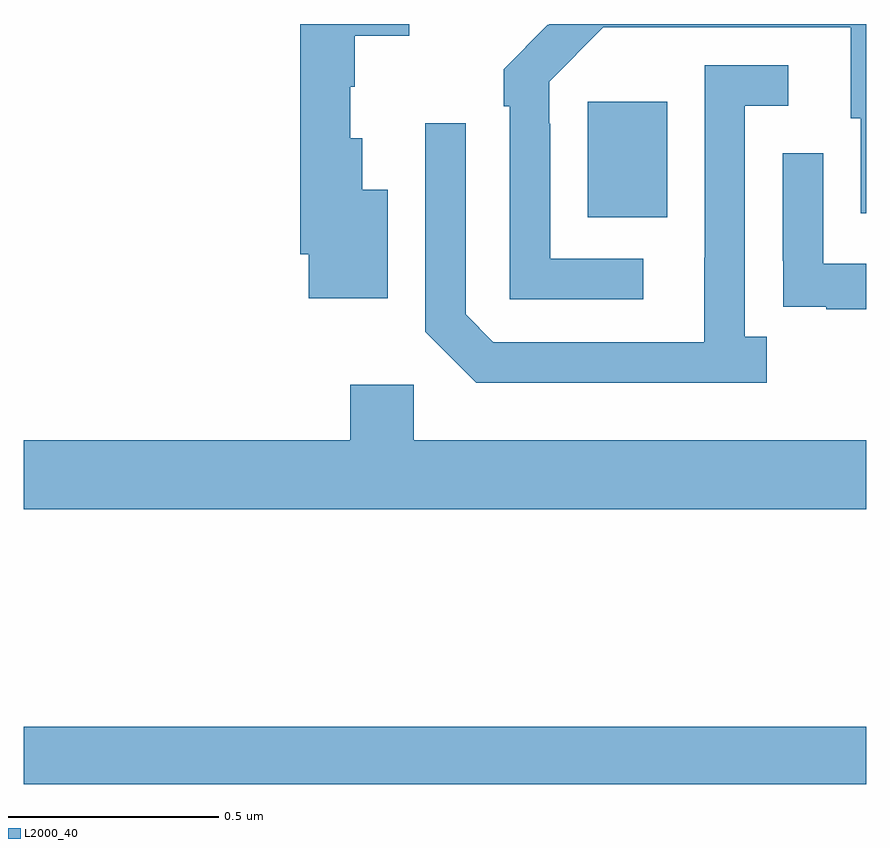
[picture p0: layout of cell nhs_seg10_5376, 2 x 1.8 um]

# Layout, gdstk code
import gdstk
lib = gdstk.Library(unit=1e-6, precision=1e-09)
def R(c, l, rs):  # rectangles x0, y0, x1, y1
    for r in rs: c.add(gdstk.rectangle(r[:2], r[2:], *l))
def P(c, l, *ps):  # polygons
    for p in ps: c.add(gdstk.Polygon(p, *l))
L2000_40 = (2000, 40)

nhs_seg10_5376 = lib.new_cell('nhs_seg10_5376')
R(nhs_seg10_5376, L2000_40, [(178,1267.696,180,1267.832), (179.339,1269.041,179.527,1269.316)])
P(nhs_seg10_5376, L2000_40, [(179.47,1268.943),(179.25,1268.943),(179.25,1269.263),(179.247,1269.263),(179.247,1269.363),(179.376,1269.492),(179.963,1269.492),(179.963,1269.276),(179.987,1269.276),(179.987,1269.051),(180,1269.051),(180,1269.5),(179.248,1269.5),(179.245,1269.497),(179.244,1269.498),(179.139,1269.393),(179.139,1269.305),(179.154,1269.305),(179.154,1268.847),(179.47,1268.847)],
  [(178.864,1269.106),(178.804,1269.106),(178.804,1269.229),(178.775,1269.229),(178.775,1269.351),(178.786,1269.351),(178.786,1269.472),(178.915,1269.472),(178.915,1269.5),(178.657,1269.5),(178.657,1268.953),(178.676,1268.953),(178.676,1268.849),(178.864,1268.849)],
  [(179.764,1268.758),(179.712,1268.758),(179.712,1269.306),(179.815,1269.306),(179.815,1269.402),(179.616,1269.402),(179.616,1268.945),(179.615,1268.945),(179.615,1268.745),(179.115,1268.745),(179.049,1268.811),(179.049,1269.265),(178.953,1269.265),(178.953,1268.769),(179.074,1268.648),(179.764,1268.648)],
  [(180,1268.931),(179.898,1268.931),(179.898,1269.193),(179.802,1269.193),(179.802,1268.938),(179.803,1268.938),(179.803,1268.829),(179.905,1268.829),(179.905,1268.823),(180,1268.823)],
  [(180,1268.512),(178.926,1268.512),(178.926,1268.644),(178.775,1268.644),(178.775,1268.512),(178,1268.512),(178,1268.348),(180,1268.348)])

lib.write_gds('nhs_seg10_5376.gds')
